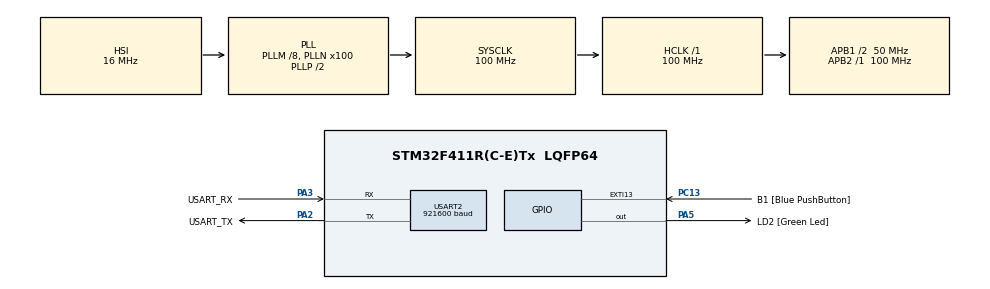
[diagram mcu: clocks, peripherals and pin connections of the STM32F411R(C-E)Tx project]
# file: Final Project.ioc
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Mcu.Family=STM32F4
Mcu.Name=STM32F411R(C-E)Tx
Mcu.Package=LQFP64
NVIC.PriorityGroup=NVIC_PRIORITYGROUP_0
NVIC.TIM2_IRQn=true\:0\:0\:false\:false\:true\:true\:true
NVIC.USART2_IRQn=true\:0\:0\:false\:false\:true\:true\:true
PA13.GPIO_Label=TMS
PA13.Mode=Serial_Wire
PA13.Signal=SYS_JTMS-SWDIO
PA14.GPIO_Label=TCK
PA14.Mode=Serial_Wire
PA14.Signal=SYS_JTCK-SWCLK
PA2.GPIO_Label=USART_TX
PA2.Mode=Asynchronous
PA2.Signal=USART2_TX
PA3.GPIO_Label=USART_RX
PA3.Mode=Asynchronous
PA3.Signal=USART2_RX
PA5.GPIO_Label=LD2 [Green Led]
PA5.Signal=GPIO_Output
PB3.GPIO_Label=SWO
PB3.Signal=SYS_JTDO-SWO
PC13-ANTI_TAMP.GPIO_Label=B1 [Blue PushButton]
PC13-ANTI_TAMP.GPIO_ModeDefaultEXTI=GPIO_MODE_IT_FALLING
PC13-ANTI_TAMP.Signal=GPXTI13
PC14-OSC32_IN.Mode=LSE-External-Oscillator
PC14-OSC32_IN.Signal=RCC_OSC32_IN
PC15-OSC32_OUT.Mode=LSE-External-Oscillator
PC15-OSC32_OUT.Signal=RCC_OSC32_OUT
PH0\ -\ OSC_IN.Mode=HSE-External-Clock-Source
PH0\ -\ OSC_IN.Signal=RCC_OSC_IN
PH1\ -\ OSC_OUT.Mode=HSE-External-Clock-Source
PH1\ -\ OSC_OUT.Signal=RCC_OSC_OUT
ProjectManager.HeapSize=0x200
ProjectManager.StackSize=0x400
ProjectManager.TargetToolchain=STM32CubeIDE
RCC.48MHZClocksFreq_Value=50000000
RCC.AHBFreq_Value=100000000
RCC.APB1CLKDivider=RCC_HCLK_DIV2
RCC.APB1Freq_Value=50000000
RCC.APB1TimFreq_Value=100000000
RCC.APB2Freq_Value=100000000
RCC.APB2TimFreq_Value=100000000
RCC.CortexFreq_Value=100000000
RCC.FLatency-AdvancedSettings=FLASH_LATENCY_3
RCC.HCLKFreq_Value=100000000
RCC.HSE_VALUE=8000000
RCC.HSI_VALUE=16000000
RCC.PLLM=8
RCC.PLLN=100
RCC.SYSCLKFreq_VALUE=100000000
RCC.SYSCLKSource=RCC_SYSCLKSOURCE_PLLCLK
RCC.VCOOutputFreq_Value=200000000
TIM2.Period=9999
TIM2.Prescaler=9999
USART2.BaudRate=921600
USART2.VirtualMode=VM_ASYNC
VP_TIM2_VS_ClockSourceINT.Mode=Internal
board=NUCLEO-F411RE

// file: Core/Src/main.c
/* USER CODE BEGIN Header */
/**
  ******************************************************************************
  * @file           : main.c
  * @brief          : Main program body
  ******************************************************************************
  * @attention
  *
  * <h2><center>&copy; Copyright (c) 2020 STMicroelectronics.
  * All rights reserved.</center></h2>
  *
  * This software component is licensed by ST under BSD 3-Clause license,
  * the "License"; You may not use this file except in compliance with the
  * License. You may obtain a copy of the License at:
  *                        opensource.org/licenses/BSD-3-Clause
  *
  ******************************************************************************
  */
/* USER CODE END Header */

#include "main.h"

/* USER CODE BEGIN Includes */
#include "stdio.h"
#include "string.h"
#include "stdlib.h"
#include "dict.h"
/* USER CODE END Includes */

TIM_HandleTypeDef htim2;

UART_HandleTypeDef huart2;

void SystemClock_Config(void);
static void MX_GPIO_Init(void);
static void MX_USART2_UART_Init(void);
static void MX_TIM2_Init(void);
/* USER CODE BEGIN PFP */
// General Helper
struct node;
struct list;
void append(struct list *, char *);
int searchAndRemove(struct list *, char *);
struct list * listInit();
void emptiedList(struct list *);

char InputHandler();

void ChangeTimerPeriod();

char * getRandWord();
void setRandSeed();

char * stringGetLastKBit(char *, int);
// Terminal Controls
void Refresh();
void ClearLine();
void MoveCurTo(int, int);
void SetColorBrightRedAll();
void SetColorResetWithBold();
void SetColorBrightRedBG_BlackLetter();
void SetColorBrightCyanAll();
// UI printing
void print(const void *);
void PrintCentered(const void *, int, int);

void WelcomePagePrompt();

void StartPlayInit();
void PlayingPageInfo();
void WinningCat();

void DeadPageInit();

void SettingPageInit();

void SettingDifficultyInit();

void SettingSpeedInit();

void DrawGrid();
void SetFontBold();
// UX / Game flows Controls
void WelcomePageHandler();

void PlayingPageHandler();
void PlayingPageTimerCalback();

void DeadPageHandler();

void SettingPageHandler();

void SettingDifficultyHandler();

void SettingSpeedHandler();

/* USER CODE END PFP */

/* USER CODE BEGIN 0 */
struct node{
	char * data;
	struct node * next;
	struct node * back;
};

struct list{
	int stringSize;
	int size;
	struct node * head;
	struct node * tail;
};

char txBuffer[100];
char txQueue[100][100];
int currentTxQueueIndex = 0;
int endTxQueueIndex = 0;

typedef struct GameDataStruct {
	struct list * lines[10];
	int linesLength[10];
	int speed; /* 1 - 10 default 1 */
	int numberOfLines; /* 1 - 10 default 4 */
	int highScore; /* initial 0 */
	int gameState;
	/*
	 * 0: Welcome Page
	 * 1: Playing Page
	 * 11: Dead Page
	 * 2: Setting Page
	 * 21: Set Difficulty Page
	 * 22: Set Speed Page
	 */
	int currentScore; /* initial 0 */
	char currentScoreString[60];
} GameData;
GameData gameData;

char receive[1] = "-";
char line[100] = "";
char finishedLine[100] = "";

const char newLine[] = "\r\n";
const char clear[] = "\033[2J";
const char moveCurTopLeft[] = "\033[H";
const char clearAndMoveCurTopLeft[] = "\033[2J \033[H";
const char reset[] = "\033c";
const char debug[] = "NOT OK\r\n";
const char moveCurLeft[] = "\033[D";
const char clearLine[] = "\033[2K";

//const char moveCurLeftWelcome[] = "\033[4;0H";
const char inputPrompt[] = "\033[37;101mPu\033[30;42mRo\033[30;103mMu\033[37;104mTo\033[37;40m: ";

void WinningCat() {
	MoveCurTo(gameData.numberOfLines + 7, 34); print("　　　　∧,,∧");
	MoveCurTo(gameData.numberOfLines + 8, 34); print(" ☆二　⊂(・ω・｀)");
	MoveCurTo(gameData.numberOfLines + 9, 34); print("　　　　-ヽ　　と)");
	MoveCurTo(gameData.numberOfLines + 10, 34); print(" 　　　　　｀ｕ-ｕ'");
}

void init() {
	Refresh();
	SetFontBold();
	WelcomePagePrompt();
	gameData.gameState = 0;
	gameData.speed = 7;
	gameData.numberOfLines = 1;
	gameData.highScore = 0;
	gameData.currentScore = 0;
	for(int i = 0; i < 10; i++) {
		gameData.linesLength[i] = 0;
		gameData.lines[i] = listInit();
	}
	ChangeTimerPeriod();
}

void driver() {
	switch(gameData.gameState){
	case 0:
		WelcomePageHandler();
		break;
	case 1:
		PlayingPageHandler();
		break;
	case 11:
		DeadPageHandler();
		break;
	case 2:
		SettingPageHandler();
		break;
	case 21:
		SettingDifficultyHandler();
		break;
	case 22:
		SettingSpeedHandler();
		break;
	default:
		WelcomePageHandler();
		break;
	}
}

void HAL_UART_RxCpltCallback(UART_HandleTypeDef *huart) {
	InputHandler();
}

void HAL_UART_TxCpltCallback(UART_HandleTypeDef *huart) {
//	return;
	currentTxQueueIndex++;
	if(currentTxQueueIndex == 100)
		currentTxQueueIndex -= 100;

	if(currentTxQueueIndex == endTxQueueIndex) return;
	strcpy(txBuffer, txQueue[currentTxQueueIndex]);
	HAL_UART_Transmit_IT(&huart2, (unsigned char *)txBuffer, strlen(txBuffer));
}

//void HAL_TIM_PeriodElaspedCallback(TIM_HandleTypeDef *htim) {
//}

void print(const void * s) {
	s = (char * ) s;
	if(strlen(s) == 0) return;
	strcpy(txQueue[endTxQueueIndex], s);
	endTxQueueIndex++;
	if(endTxQueueIndex == 100)
		endTxQueueIndex -= 100;

	if(endTxQueueIndex - 1 == currentTxQueueIndex || endTxQueueIndex + 99 == currentTxQueueIndex) {
		strcpy(txBuffer, txQueue[currentTxQueueIndex]);
		HAL_UART_Transmit_IT(&huart2, (unsigned char *) txBuffer, strlen(txBuffer));
	}
}

void append(struct list * lisPtr, char * newData) {
	struct node * np = malloc(sizeof(struct node));
	np->data = newData;
	np->back = lisPtr->tail;
	np->next = lisPtr->head;
	lisPtr->head->back = np;
	lisPtr->tail->next = np;
	lisPtr->tail = np;
	lisPtr->size++;
	lisPtr->stringSize += strlen(np->data);
}

int searchAndRemove(struct list * lisPtr, char * s) {
	struct node * np = lisPtr->head->next;
	while(np != lisPtr->head) {
		if(strcmp(np->data, s) == 0){
			np->next->back = np->back;
			np->back->next = np->next;
			lisPtr->size--;
			lisPtr->stringSize -= strlen(np->data);
			free(np);
			gameData.currentScore += strlen(s);
			return 1;
		}
		np = np->next;
	}
	return 0;
}

struct list * listInit() {
	struct node * headerNode = malloc(sizeof(struct node));
	headerNode->data = "";
	headerNode->back = headerNode;
	headerNode->next = headerNode;
	struct list * listPtr = malloc(sizeof(struct list));
	listPtr->stringSize = 0;
	listPtr->size = 0;
	listPtr->head = headerNode;
	listPtr->tail = headerNode;
	return listPtr;
}

void emptiedList(struct list * lisPtr) {
	struct node * tempNode = lisPtr->head->next;
	while(tempNode != lisPtr->head){
		struct node * delNode = tempNode;
		tempNode = tempNode->next;
		free(delNode);
	}
	lisPtr->head->next = lisPtr->head;
	lisPtr->head->back = lisPtr->head;
	lisPtr->tail = lisPtr->head;
	lisPtr->stringSize = 0;
	lisPtr->size = 0;
}

char * getRandWord() {
	return DICT[rand() % 9474];
}

void setRandSeed() {
	srand(SysTick->VAL);
}

char InputHandler() {
	if(receive[0] == '\r') { // Enter
		strcpy(finishedLine, line);
		strcpy(line, "");
		return receive[0];
	}
	if(receive[0] == '\e') { // Prolly Escape
		return receive[0];
	}
	if(receive[0] == '[' || receive[0] == 'A' || receive[0] == 'B' || receive[0] == 'C' || receive[0] == 'D') { // ALL Arrow BANNED / I Gave up.
		return receive[0];
	}
	if(receive[0] == '\177') { //Backspace
		if(strlen(line) == 0) return receive[0];
		print(receive);
		line[strlen(line) - 1] = '\0';
		return receive[0];
	}
	// Default
	strncat(line, receive, 1);
	print(receive);
	if(strlen(line) > 97) {
		strcpy(finishedLine, line);
		strcpy(line, "");
	}
	return receive[0];
}

void WelcomePagePrompt() {
	DrawGrid();
	PrintCentered("\033[48;5;248m\033[38;5;93mWel\033[38;5;17mcome \033[38;5;14mto \033[38;5;10mText \033[38;5;11mSur", 3, 25);
	print("\033[38;5;214mvi\033[38;5;196mval!");
	SetColorResetWithBold();
	MoveCurTo(4, 5); print("1) Play");
	MoveCurTo(5, 5); print("2) Setting");
	MoveCurTo(6, 5); print(inputPrompt); print(line);
}

void WelcomePageHandler() {
	HAL_UART_Receive_IT(&huart2, (unsigned char *)receive, 1);
	if(receive[0] != '\r') return;
	receive[0] = 'X';
	if(strcmp(finishedLine, "1") == 0) {
		StartPlayInit();
		gameData.gameState = 1;
		return;
	}
	if(strcmp(finishedLine, "2") == 0) {
		SettingPageInit();
		gameData.gameState = 2;
		return;
	}
	ClearLine();
	DrawGrid();
	MoveCurTo(6, 5); print(inputPrompt);
}

void PlayingPageInfo() {
	Refresh();

	SetColorBrightRedBG_BlackLetter();
	for(int i = 0; i < gameData.numberOfLines; i++) {
		MoveCurTo(i + 5, 77);
		print("XX");
	}
	SetColorResetWithBold();

	sprintf(gameData.currentScoreString, "%d", gameData.currentScore);
	PrintCentered("Carnibaru Score: ", 3, 20); // score on 3 digit average (actual len = 17)
	print(gameData.currentScoreString);

	for(int i = 0; i < gameData.numberOfLines; i++) {
		char tempString[100] = "";
		struct node * tempNode = gameData.lines[i]->tail;
		while(tempNode != gameData.lines[i]->head) {
			strcat(tempString, tempNode->data);
			strcat(tempString, " ");
			tempNode = tempNode->back;
		}
		char * outString = stringGetLastKBit(tempString, gameData.linesLength[i]);
		MoveCurTo(5 + i, 3); print(">"); print(outString);
	}
	DrawGrid();
	MoveCurTo(5 + gameData.numberOfLines, 5);
}

void PlayingPageHandler() {
	HAL_UART_Receive_IT(&huart2, (unsigned char *)receive, 1);
	if(receive[0] != '\r') return;
	receive[0] = 'X';
	int checkIfRemoved = 0;
	for(int i = 0; i < gameData.numberOfLines; i++) {
		checkIfRemoved = searchAndRemove(gameData.lines[i], finishedLine);
		if(checkIfRemoved == 1){
			gameData.linesLength[i] -= strlen(finishedLine);
			if(gameData.linesLength[i] < 0) gameData.linesLength[i] = 0;
		}
	}

	PlayingPageInfo();
	print(inputPrompt); print(line);

}

void PlayingPageTimerCallback() {
	if(gameData.gameState != 1) return;
	for(int i = 0; i < gameData.numberOfLines; i++) {
		gameData.linesLength[i] += 1;
		if(gameData.linesLength[i] > 74){
			gameData.gameState = 11; // DEAD
			DeadPageInit();
			return;
		}
		if(gameData.linesLength[i] > gameData.lines[i]->stringSize){
			append(gameData.lines[i], getRandWord());
		}
	}
	PlayingPageInfo();
	print(inputPrompt); print(line);
}

void StartPlayInit() {
	setRandSeed();
	gameData.currentScore = 0;
	for(int i = 0; i < gameData.numberOfLines; i++) {
		emptiedList(gameData.lines[i]);
		gameData.linesLength[i] = 0;
	}
}

void DeadPageInit() {
	int flag = 0;
	print(clearLine);
	PrintCentered("You Are Dead (ó﹏ò｡) \r\n\n", gameData.numberOfLines + 6, 19);

	if(gameData.currentScore > gameData.highScore) {
		gameData.highScore = gameData.currentScore;
		print("\tYou got a new HighScore!!\r\n");
		flag = 1;
	} else {
		char currentHighScore[40];
		sprintf(currentHighScore, "\tYour Current HighScore: %d\r\n", gameData.highScore);
		print(currentHighScore);
	}
	char deadPrompt2[60];
	sprintf(deadPrompt2, "\tYour Score: %d\r\n\tEnter to go back to menu\r\n", gameData.currentScore);
	print(deadPrompt2);
	if(flag == 1){
		WinningCat();
	}
	DrawGrid();
	MoveCurTo(gameData.numberOfLines + 11, 3);
}

void DeadPageHandler() {
	HAL_UART_Receive_IT(&huart2, (unsigned char *)receive, 1);
	if(receive[0] != '\r') return;
	receive[0] = 'X';
	gameData.gameState = 0;
	Refresh();
	WelcomePagePrompt();
}

void SettingPageInit() {
	Refresh();
	DrawGrid();
	char settingDiffPrompt[30], settingSpeedPrompt[30];
	PrintCentered("Setting Page", 3, -1);
	sprintf(settingDiffPrompt, "1) Difficulty Setting (%d)", gameData.numberOfLines);
	sprintf(settingSpeedPrompt, "2) Speed Setting (%d)", gameData.speed);
	MoveCurTo(4, 5); print(settingDiffPrompt);
	MoveCurTo(5, 5); print(settingSpeedPrompt);
	MoveCurTo(6, 5); print("0) Menu");
	MoveCurTo(7, 5); print(inputPrompt);
}

void SettingPageHandler() {
	HAL_UART_Receive_IT(&huart2, (unsigned char *)receive, 1);
	if(receive[0] != '\r') return;
	receive[0] = 'X';
	if(strcmp(finishedLine, "1") == 0) {
		SettingDifficultyInit();
		gameData.gameState = 21;
		return;
	}
	if(strcmp(finishedLine, "2") == 0) {
		SettingSpeedInit();
		gameData.gameState = 22;
		return;
	}
	if(strcmp(finishedLine, "0") == 0) {
		Refresh();
		WelcomePagePrompt();
		gameData.gameState = 0;
		return;
	}
	ClearLine();
	DrawGrid();
	MoveCurTo(7, 5); print(inputPrompt);
}

void SettingDifficultyInit() {
	Refresh();
	DrawGrid();
	PrintCentered("Difficulty Setting", 3, -1);
	char difficultyPrompt[50];
	sprintf(difficultyPrompt, "Current Difficulty: %d (1 - 10 Lines)", gameData.numberOfLines);
	MoveCurTo(4, 5); print(difficultyPrompt);
	MoveCurTo(5, 5); print("0) Back");
	MoveCurTo(6, 5); print(inputPrompt);
}

void SettingDifficultyHandler() {
	HAL_UART_Receive_IT(&huart2, (unsigned char *)receive, 1);
	if(receive[0] != '\r') return;
	receive[0] = 'X';
	if(strcmp(finishedLine, "10") == 0){
		gameData.numberOfLines = 10;
		SettingDifficultyInit();
		return;
	}
	if('1' <= finishedLine[0] && finishedLine[0] <= '9' && strlen(finishedLine) == 1) {
		gameData.numberOfLines = finishedLine[0] - '0';
		SettingDifficultyInit();
		return;
	}
	if(strcmp(finishedLine, "0") == 0){
		gameData.gameState = 2;
		SettingPageInit();
		return;
	}
	ClearLine();
	DrawGrid();
	MoveCurTo(6, 5); print(inputPrompt);
}

void SettingSpeedInit() {
	Refresh();
	DrawGrid();
	PrintCentered("Speed Setting", 3, -1);
	char speedPrompt[70];
	sprintf(speedPrompt, "Current Speed: %d (1 - 10 Letter per Second per Line)", gameData.speed);
	MoveCurTo(4, 5); print(speedPrompt);
	MoveCurTo(5, 5); print("0) Back");
	MoveCurTo(6, 5); print(inputPrompt);
}

void SettingSpeedHandler() {
	HAL_UART_Receive_IT(&huart2, (unsigned char *)receive, 1);
	if(receive[0] != '\r') return;
	receive[0] = 'X';
	if(strcmp(finishedLine, "10") == 0){
		gameData.speed = 10;
		ChangeTimerPeriod();
		SettingSpeedInit();
		return;
	}
	if(49 <= finishedLine[0] && finishedLine[0] <= 57 && strlen(finishedLine) == 1) {
		gameData.speed = finishedLine[0] - '0';
		ChangeTimerPeriod();
		SettingSpeedInit();
		return;
	}
	if(strcmp(finishedLine, "0") == 0) {
		gameData.gameState = 2;
		SettingPageInit();
		return;
	}
	ClearLine();
	DrawGrid();
	MoveCurTo(6, 5); print(inputPrompt);
}

void ChangeTimerPeriod(){
	HAL_TIM_Base_Stop_IT(&htim2);
    TIM2->ARR = 11000 - (gameData.speed * 1000) - 1;
    TIM2->CNT = 0;
	HAL_TIM_Base_Start_IT(&htim2);
}

char * stringGetLastKBit(char * s, int k){
	int len = strlen(s);
	if(len <= k) return s;
	return s + len - k;
}

void Refresh() {
	print(clearAndMoveCurTopLeft);
}

void ClearLine() {
	print(clearLine);
}

void MoveCurTo(int row, int col) {
	char position[20];
	sprintf(position, "\033[%d;%dH", row, col);
	print(position);
}

void SetColorBrightRedAll() {
	print("\033[91;101m");
}

void SetColorBrightRedBG_BlackLetter() {
	print("\033[30;101m");
}

void SetColorResetWithBold() {
	print("\033[0m\033[1m"); //WithBold
}

void SetColorBrightCyanAll() {
	print("\033[96;106m");
}

void SetFontBold() {
	print("\033[1m");
}

void DrawGrid() {
	MoveCurTo(1, 1);
	SetColorBrightCyanAll();
	print("12345678901234567890123456789012345678901234567890123456789012345678901234567890\r\n"); // 80
	for(int i = 2; i < 25; i++) {
		char toPrint[20];
		sprintf(toPrint, "OO\033[%d;79HOO\r\n", i);
		print(toPrint);
	}
	print("12345678901234567890123456789012345678901234567890123456789012345678901234567890"); // 80
	MoveCurTo(2, 3);
	SetColorResetWithBold();
}

void PrintCentered(const void * s, int row, int len) {
	if(len == -1)
		len = strlen(s);
	int col = 40 - (len / 2);
	MoveCurTo(row, col);
	print(s);
}

/* USER CODE END 0 */

int main(void)
{

  /* MCU Configuration--------------------------------------------------------*/

  /* Reset of all peripherals, Initializes the Flash interface and the Systick. */
  HAL_Init();

  /* Configure the system clock */
  SystemClock_Config();

  /* Initialize all configured peripherals */
  MX_GPIO_Init();
  MX_USART2_UART_Init();
  MX_TIM2_Init();
  /* USER CODE BEGIN 2 */
  HAL_TIM_Base_Start_IT(&htim2);
  /* USER CODE END 2 */

  /* Infinite loop */
  /* USER CODE BEGIN WHILE */
  init();
  while (1)
  {
    /* USER CODE END WHILE */

    /* USER CODE BEGIN 3 */
	  driver();
  }
  /* USER CODE END 3 */
}

void SystemClock_Config(void)
{
  RCC_OscInitTypeDef RCC_OscInitStruct = {0};
  RCC_ClkInitTypeDef RCC_ClkInitStruct = {0};

  /** Configure the main internal regulator output voltage
  */
  __HAL_RCC_PWR_CLK_ENABLE();
  __HAL_PWR_VOLTAGESCALING_CONFIG(PWR_REGULATOR_VOLTAGE_SCALE1);
  /** Initializes the CPU, AHB and APB busses clocks
  */
  RCC_OscInitStruct.OscillatorType = RCC_OSCILLATORTYPE_HSI;
  RCC_OscInitStruct.HSIState = RCC_HSI_ON;
  RCC_OscInitStruct.HSICalibrationValue = RCC_HSICALIBRATION_DEFAULT;
  RCC_OscInitStruct.PLL.PLLState = RCC_PLL_ON;
  RCC_OscInitStruct.PLL.PLLSource = RCC_PLLSOURCE_HSI;
  RCC_OscInitStruct.PLL.PLLM = 8;
  RCC_OscInitStruct.PLL.PLLN = 100;
  RCC_OscInitStruct.PLL.PLLP = RCC_PLLP_DIV2;
  RCC_OscInitStruct.PLL.PLLQ = 4;
  if (HAL_RCC_OscConfig(&RCC_OscInitStruct) != HAL_OK)
  {
    Error_Handler();
  }
  /** Initializes the CPU, AHB and APB busses clocks
  */
  RCC_ClkInitStruct.ClockType = RCC_CLOCKTYPE_HCLK|RCC_CLOCKTYPE_SYSCLK
                              |RCC_CLOCKTYPE_PCLK1|RCC_CLOCKTYPE_PCLK2;
  RCC_ClkInitStruct.SYSCLKSource = RCC_SYSCLKSOURCE_PLLCLK;
  RCC_ClkInitStruct.AHBCLKDivider = RCC_SYSCLK_DIV1;
  RCC_ClkInitStruct.APB1CLKDivider = RCC_HCLK_DIV2;
  RCC_ClkInitStruct.APB2CLKDivider = RCC_HCLK_DIV1;

  if (HAL_RCC_ClockConfig(&RCC_ClkInitStruct, FLASH_LATENCY_3) != HAL_OK)
  {
    Error_Handler();
  }
}

static void MX_TIM2_Init(void)
{

  TIM_ClockConfigTypeDef sClockSourceConfig = {0};
  TIM_MasterConfigTypeDef sMasterConfig = {0};

  htim2.Instance = TIM2;
  htim2.Init.Prescaler = 9999;
  htim2.Init.CounterMode = TIM_COUNTERMODE_UP;
  htim2.Init.Period = 9999;
  htim2.Init.ClockDivision = TIM_CLOCKDIVISION_DIV1;
  htim2.Init.AutoReloadPreload = TIM_AUTORELOAD_PRELOAD_DISABLE;
  if (HAL_TIM_Base_Init(&htim2) != HAL_OK)
  {
    Error_Handler();
  }
  sClockSourceConfig.ClockSource = TIM_CLOCKSOURCE_INTERNAL;
  if (HAL_TIM_ConfigClockSource(&htim2, &sClockSourceConfig) != HAL_OK)
  {
    Error_Handler();
  }
  sMasterConfig.MasterOutputTrigger = TIM_TRGO_RESET;
  sMasterConfig.MasterSlaveMode = TIM_MASTERSLAVEMODE_DISABLE;
  if (HAL_TIMEx_MasterConfigSynchronization(&htim2, &sMasterConfig) != HAL_OK)
  {
    Error_Handler();
  }

}

static void MX_USART2_UART_Init(void)
{

  huart2.Instance = USART2;
  huart2.Init.BaudRate = 921600;
  huart2.Init.WordLength = UART_WORDLENGTH_8B;
  huart2.Init.StopBits = UART_STOPBITS_1;
  huart2.Init.Parity = UART_PARITY_NONE;
  huart2.Init.Mode = UART_MODE_TX_RX;
  huart2.Init.HwFlowCtl = UART_HWCONTROL_NONE;
  huart2.Init.OverSampling = UART_OVERSAMPLING_16;
  if (HAL_UART_Init(&huart2) != HAL_OK)
  {
    Error_Handler();
  }

}

static void MX_GPIO_Init(void)
{
  GPIO_InitTypeDef GPIO_InitStruct = {0};

  /* GPIO Ports Clock Enable */
  __HAL_RCC_GPIOC_CLK_ENABLE();
  __HAL_RCC_GPIOH_CLK_ENABLE();
  __HAL_RCC_GPIOA_CLK_ENABLE();
  __HAL_RCC_GPIOB_CLK_ENABLE();

  /*Configure GPIO pin Output Level */
  HAL_GPIO_WritePin(LD2_GPIO_Port, LD2_Pin, GPIO_PIN_RESET);

  /*Configure GPIO pin : B1_Pin */
  GPIO_InitStruct.Pin = B1_Pin;
  GPIO_InitStruct.Mode = GPIO_MODE_IT_FALLING;
  GPIO_InitStruct.Pull = GPIO_NOPULL;
  HAL_GPIO_Init(B1_GPIO_Port, &GPIO_InitStruct);

  /*Configure GPIO pin : LD2_Pin */
  GPIO_InitStruct.Pin = LD2_Pin;
  GPIO_InitStruct.Mode = GPIO_MODE_OUTPUT_PP;
  GPIO_InitStruct.Pull = GPIO_NOPULL;
  GPIO_InitStruct.Speed = GPIO_SPEED_FREQ_LOW;
  HAL_GPIO_Init(LD2_GPIO_Port, &GPIO_InitStruct);

}

/* USER CODE BEGIN 4 */
void TIM2_IRQHandler(void)
{
  /* USER CODE BEGIN TIM2_IRQn 0 */
	PlayingPageTimerCallback();
  /* USER CODE END TIM2_IRQn 0 */
  HAL_TIM_IRQHandler(&htim2);
  /* USER CODE BEGIN TIM2_IRQn 1 */

  /* USER CODE END TIM2_IRQn 1 */
}
/* USER CODE END 4 */

void Error_Handler(void)
{
}

/************************ (C) COPYRIGHT STMicroelectronics *****END OF FILE****/
